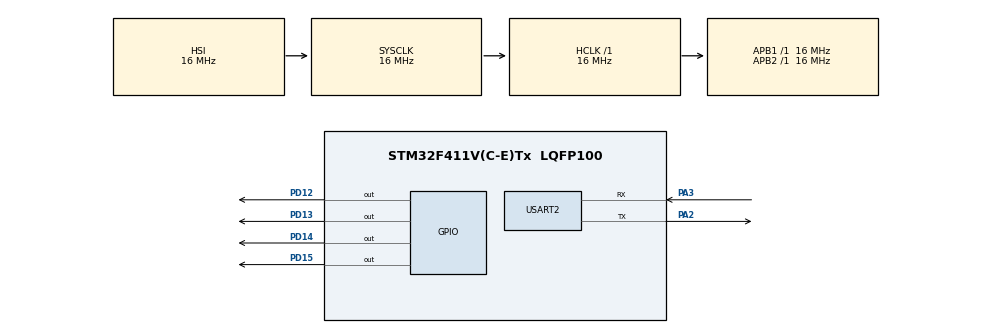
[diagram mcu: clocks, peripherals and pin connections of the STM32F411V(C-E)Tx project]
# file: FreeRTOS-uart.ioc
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ADC1.Channel-0\#ChannelRegularConversion=ADC_CHANNEL_TEMPSENSOR
ADC1.NbrOfConversionFlag=1
ADC1.Rank-0\#ChannelRegularConversion=1
ADC1.SamplingTime-0\#ChannelRegularConversion=ADC_SAMPLETIME_3CYCLES
ADC1.master=1
FREERTOS.BinarySemaphores01=key,Dynamic,NULL
FREERTOS.Queues01=adc_queue,16,uint32_t,0,Dynamic,NULL,NULL
FREERTOS.Tasks01=defaultTask,24,128,StartDefaultTask,Default,NULL,Dynamic,NULL,NULL;Task1,8,128,Task1_func,Default,NULL,Dynamic,NULL,NULL;Task2,8,128,Task2_func,Default,NULL,Dynamic,NULL,NULL
FREERTOS.Timers01=Timer1,Timer1_func,osTimerPeriodic,Default,NULL,Dynamic,NULL
Mcu.Family=STM32F4
Mcu.Name=STM32F411V(C-E)Tx
Mcu.Package=LQFP100
NVIC.PriorityGroup=NVIC_PRIORITYGROUP_4
PA13.Mode=Serial_Wire
PA13.Signal=SYS_JTMS-SWDIO
PA14.Mode=Serial_Wire
PA14.Signal=SYS_JTCK-SWCLK
PA2.Mode=Asynchronous
PA2.Signal=USART2_TX
PA3.Mode=Asynchronous
PA3.Signal=USART2_RX
PD12.Signal=GPIO_Output
PD13.Signal=GPIO_Output
PD14.Signal=GPIO_Output
PD15.Signal=GPIO_Output
ProjectManager.HeapSize=0x200
ProjectManager.StackSize=0x400
ProjectManager.TargetToolchain=STM32CubeIDE
RCC.AHBFreq_Value=16000000
RCC.APB1Freq_Value=16000000
RCC.APB2Freq_Value=16000000
RCC.CortexFreq_Value=16000000
RCC.HSE_VALUE=25000000
RCC.HSI_VALUE=16000000
RCC.LSE_VALUE=32768
RCC.SYSCLKFreq_VALUE=16000000
RCC.VCOOutputFreq_Value=192000000
USART2.VirtualMode=VM_ASYNC
VP_ADC1_TempSens_Input.Mode=IN-TempSens
VP_FREERTOS_VS_CMSIS_V2.Mode=CMSIS_V2
board=custom

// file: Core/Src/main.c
/* USER CODE BEGIN Header */
/**
  ******************************************************************************
  * @file           : main.c
  * @brief          : Main program body
  ******************************************************************************
  * @attention
  *
  * Copyright (c) 2022 STMicroelectronics.
  * All rights reserved.
  *
  * This software is licensed under terms that can be found in the LICENSE file
  * in the root directory of this software component.
  * If no LICENSE file comes with this software, it is provided AS-IS.
  *
  ******************************************************************************
  */
/* USER CODE END Header */
#include "main.h"
#include "cmsis_os.h"

/* USER CODE BEGIN Includes */
#include <stdio.h>
#include <string.h>

/* USER CODE END Includes */

 ADC_HandleTypeDef hadc1;

UART_HandleTypeDef huart2;

/* Definitions for defaultTask */
osThreadId_t defaultTaskHandle;
const osThreadAttr_t defaultTask_attributes = {
  .name = "defaultTask",
  .stack_size = 128 * 4,
  .priority = (osPriority_t) osPriorityNormal,
};
/* Definitions for Task1 */
osThreadId_t Task1Handle;
const osThreadAttr_t Task1_attributes = {
  .name = "Task1",
  .stack_size = 128 * 4,
  .priority = (osPriority_t) osPriorityLow,
};
/* Definitions for Task2 */
osThreadId_t Task2Handle;
const osThreadAttr_t Task2_attributes = {
  .name = "Task2",
  .stack_size = 128 * 4,
  .priority = (osPriority_t) osPriorityLow,
};
/* Definitions for adc_queue */
osMessageQueueId_t adc_queueHandle;
const osMessageQueueAttr_t adc_queue_attributes = {
  .name = "adc_queue"
};
/* Definitions for Timer1 */
osTimerId_t Timer1Handle;
const osTimerAttr_t Timer1_attributes = {
  .name = "Timer1"
};
/* Definitions for key */
osSemaphoreId_t keyHandle;
const osSemaphoreAttr_t key_attributes = {
  .name = "key"
};

void SystemClock_Config(void);
static void MX_GPIO_Init(void);
static void MX_USART2_UART_Init(void);
static void MX_ADC1_Init(void);
void StartDefaultTask(void *argument);
void Task1_func(void *argument);
void Task2_func(void *argument);
void Timer1_func(void *argument);

int main(void)
{

  /* MCU Configuration--------------------------------------------------------*/

  /* Reset of all peripherals, Initializes the Flash interface and the Systick. */
  HAL_Init();

  /* Configure the system clock */
  SystemClock_Config();

  /* Initialize all configured peripherals */
  MX_GPIO_Init();
  MX_USART2_UART_Init();
  MX_ADC1_Init();

  /* Init scheduler */
  osKernelInitialize();

  /* Create the semaphores(s) */
  /* creation of key */
  keyHandle = osSemaphoreNew(1, 1, &key_attributes);

  /* Create the timer(s) */
  /* creation of Timer1 */
  Timer1Handle = osTimerNew(Timer1_func, osTimerPeriodic, NULL, &Timer1_attributes);

  /* Create the queue(s) */
  /* creation of adc_queue */
  adc_queueHandle = osMessageQueueNew (16, sizeof(uint32_t), &adc_queue_attributes);

  /* Create the thread(s) */
  /* creation of defaultTask */
  defaultTaskHandle = osThreadNew(StartDefaultTask, NULL, &defaultTask_attributes);

  /* creation of Task1 */
  Task1Handle = osThreadNew(Task1_func, NULL, &Task1_attributes);

  /* creation of Task2 */
  Task2Handle = osThreadNew(Task2_func, NULL, &Task2_attributes);

  /* Start scheduler */
  osKernelStart();

  /* We should never get here as control is now taken by the scheduler */
  /* Infinite loop */
  while (1)
  {

  }
}

void SystemClock_Config(void)
{
  RCC_OscInitTypeDef RCC_OscInitStruct = {0};
  RCC_ClkInitTypeDef RCC_ClkInitStruct = {0};

  /** Configure the main internal regulator output voltage
  */
  __HAL_RCC_PWR_CLK_ENABLE();
  __HAL_PWR_VOLTAGESCALING_CONFIG(PWR_REGULATOR_VOLTAGE_SCALE1);

  /** Initializes the RCC Oscillators according to the specified parameters
  * in the RCC_OscInitTypeDef structure.
  */
  RCC_OscInitStruct.OscillatorType = RCC_OSCILLATORTYPE_HSI;
  RCC_OscInitStruct.HSIState = RCC_HSI_ON;
  RCC_OscInitStruct.HSICalibrationValue = RCC_HSICALIBRATION_DEFAULT;
  RCC_OscInitStruct.PLL.PLLState = RCC_PLL_NONE;
  if (HAL_RCC_OscConfig(&RCC_OscInitStruct) != HAL_OK)
  {
    Error_Handler();
  }

  /** Initializes the CPU, AHB and APB buses clocks
  */
  RCC_ClkInitStruct.ClockType = RCC_CLOCKTYPE_HCLK|RCC_CLOCKTYPE_SYSCLK
                              |RCC_CLOCKTYPE_PCLK1|RCC_CLOCKTYPE_PCLK2;
  RCC_ClkInitStruct.SYSCLKSource = RCC_SYSCLKSOURCE_HSI;
  RCC_ClkInitStruct.AHBCLKDivider = RCC_SYSCLK_DIV1;
  RCC_ClkInitStruct.APB1CLKDivider = RCC_HCLK_DIV1;
  RCC_ClkInitStruct.APB2CLKDivider = RCC_HCLK_DIV1;

  if (HAL_RCC_ClockConfig(&RCC_ClkInitStruct, FLASH_LATENCY_0) != HAL_OK)
  {
    Error_Handler();
  }
}

static void MX_ADC1_Init(void)
{

  ADC_ChannelConfTypeDef sConfig = {0};

  /** Configure the global features of the ADC (Clock, Resolution, Data Alignment and number of conversion)
  */
  hadc1.Instance = ADC1;
  hadc1.Init.ClockPrescaler = ADC_CLOCK_SYNC_PCLK_DIV2;
  hadc1.Init.Resolution = ADC_RESOLUTION_12B;
  hadc1.Init.ScanConvMode = DISABLE;
  hadc1.Init.ContinuousConvMode = DISABLE;
  hadc1.Init.DiscontinuousConvMode = DISABLE;
  hadc1.Init.ExternalTrigConvEdge = ADC_EXTERNALTRIGCONVEDGE_NONE;
  hadc1.Init.ExternalTrigConv = ADC_SOFTWARE_START;
  hadc1.Init.DataAlign = ADC_DATAALIGN_RIGHT;
  hadc1.Init.NbrOfConversion = 1;
  hadc1.Init.DMAContinuousRequests = DISABLE;
  hadc1.Init.EOCSelection = ADC_EOC_SINGLE_CONV;
  if (HAL_ADC_Init(&hadc1) != HAL_OK)
  {
    Error_Handler();
  }

  /** Configure for the selected ADC regular channel its corresponding rank in the sequencer and its sample time.
  */
  sConfig.Channel = ADC_CHANNEL_TEMPSENSOR;
  sConfig.Rank = 1;
  sConfig.SamplingTime = ADC_SAMPLETIME_3CYCLES;
  if (HAL_ADC_ConfigChannel(&hadc1, &sConfig) != HAL_OK)
  {
    Error_Handler();
  }

}

static void MX_USART2_UART_Init(void)
{

  huart2.Instance = USART2;
  huart2.Init.BaudRate = 115200;
  huart2.Init.WordLength = UART_WORDLENGTH_8B;
  huart2.Init.StopBits = UART_STOPBITS_1;
  huart2.Init.Parity = UART_PARITY_NONE;
  huart2.Init.Mode = UART_MODE_TX_RX;
  huart2.Init.HwFlowCtl = UART_HWCONTROL_NONE;
  huart2.Init.OverSampling = UART_OVERSAMPLING_16;
  if (HAL_UART_Init(&huart2) != HAL_OK)
  {
    Error_Handler();
  }

}

static void MX_GPIO_Init(void)
{
  GPIO_InitTypeDef GPIO_InitStruct = {0};

  /* GPIO Ports Clock Enable */
  __HAL_RCC_GPIOA_CLK_ENABLE();
  __HAL_RCC_GPIOD_CLK_ENABLE();

  /*Configure GPIO pin Output Level */
  HAL_GPIO_WritePin(GPIOD, GPIO_PIN_12|GPIO_PIN_13|GPIO_PIN_14|GPIO_PIN_15, GPIO_PIN_RESET);

  /*Configure GPIO pins : PD12 PD13 PD14 PD15 */
  GPIO_InitStruct.Pin = GPIO_PIN_12|GPIO_PIN_13|GPIO_PIN_14|GPIO_PIN_15;
  GPIO_InitStruct.Mode = GPIO_MODE_OUTPUT_PP;
  GPIO_InitStruct.Pull = GPIO_NOPULL;
  GPIO_InitStruct.Speed = GPIO_SPEED_FREQ_LOW;
  HAL_GPIO_Init(GPIOD, &GPIO_InitStruct);

}

void StartDefaultTask(void *argument)
{
  for(;;)
  {
    osDelay(1);
  }
}

void Task1_func(void *argument)
{
  /* USER CODE BEGIN Task1_func */
	osTimerStart(Timer1Handle, 200);

  /* Infinite loop */
  for(;;)
  {
	  HAL_GPIO_TogglePin(GPIOD, GPIO_PIN_12);

	  char msg2print[32] = {0};
	  uint32_t adc_value = 0;
	  uint32_t msg_cnt = osMessageQueueGetCount(adc_queueHandle);
	  osMessageQueueGet(adc_queueHandle, &adc_value, 0, HAL_MAX_DELAY);
	  sprintf(msg2print, "adc value: %ld", adc_value);
	  for (uint32_t i = 1; i < msg_cnt; i++) {
		  osMessageQueueGet(adc_queueHandle, &adc_value, 0, HAL_MAX_DELAY);
		  sprintf(msg2print, "%s, %ld", msg2print, adc_value);
	  }
	  sprintf(msg2print, "%s\r\n", msg2print);
	  HAL_UART_Transmit(&huart2, (uint8_t*)msg2print, strlen(msg2print), HAL_MAX_DELAY);
	  osSemaphoreRelease(keyHandle);
	  osDelay(500);

  }
  /* USER CODE END Task1_func */
}

void Task2_func(void *argument)
{
  /* USER CODE BEGIN Task2_func */

  /* Infinite loop */
  for(;;)
  {
	  HAL_UART_Transmit(&huart2, (uint8_t*)"Task 2: Sampling ...\r\n", 22, HAL_MAX_DELAY);

	  HAL_ADC_Start(&hadc1);
	  while (!__HAL_ADC_GET_FLAG(&hadc1, ADC_FLAG_EOC)) {
		  osDelay(1);
	  }
	  __HAL_ADC_CLEAR_FLAG(&hadc1, ADC_FLAG_EOC);
	  uint32_t adc_value = HAL_ADC_GetValue(&hadc1);
	  osMessageQueuePut(adc_queueHandle, &adc_value, 0, HAL_MAX_DELAY);

	  osSemaphoreAcquire(keyHandle, HAL_MAX_DELAY);

	  HAL_GPIO_TogglePin(GPIOD, GPIO_PIN_13);
	  osDelay(100);
  }
  /* USER CODE END Task2_func */
}

/* Timer1_func function */
void Timer1_func(void *argument)
{
  /* USER CODE BEGIN Timer1_func */
	HAL_UART_Transmit(&huart2, (uint8_t*)"Hello. This is Thread T\r\n", 25, HAL_MAX_DELAY);
	HAL_GPIO_TogglePin(GPIOD, GPIO_PIN_14);
	osDelay(1000);
  /* USER CODE END Timer1_func */
}

void Error_Handler(void)
{
  __disable_irq();
  while (1)
  {
  }
}
